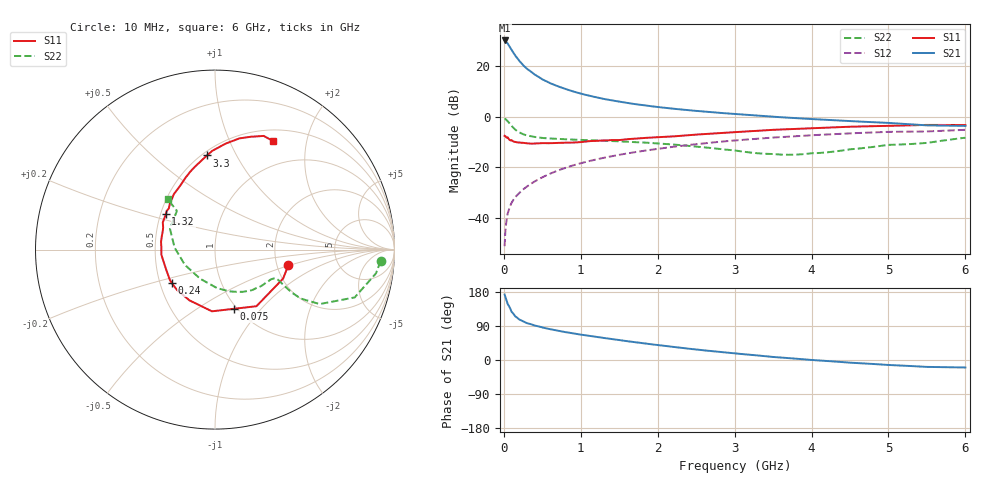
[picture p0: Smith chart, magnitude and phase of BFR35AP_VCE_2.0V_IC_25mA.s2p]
! Infineon Technologies  Discrete & RF Semiconductors
! BFR35AP
! VCE =  2.0 V,  IC =  25 mA
! Common Emitter S-Parameters:  Nov 2015
# GHz  S  MA  R  50
!  f  S11  S21  S12  S22
! GHz  MAG  ANG  MAG  ANG  MAG  ANG  MAG  ANG
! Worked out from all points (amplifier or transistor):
!   210 points, 10 MHz to 6 GHz, reference 50 ohm
!   highest |S21| = 30.3 dB at 10 MHz (marker M1)
!   |S21| within 3 dB of that: start of sweep to 85.05 MHz
!   unconditionally stable (mu >= 1): 242.7 MHz to end of sweep
!   at 185 MHz: K = 0.90, MSG = 26.8 dB, |S12| = -30.8 dB
!   at 1.52 GHz: K = 1.19, MAG = 7.9 dB, |S12| = -15.0 dB
!   at 6 GHz: K = 1.03, MAG = -0.3 dB, |S12| = -5.2 dB
!   S11 on the Smith chart (normalised r, x): 10 MHz: 2.31, -0.49; 75 MHz: 0.97, -0.73; 240 MHz: 0.58, -0.24; 1.32 GHz: 0.53, +0.24; 3.3 GHz: 0.53, +0.77; 6 GHz: 0.64, +1.47
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0.01  0.4178 -12.0  32.7 172.9  0.0027 86.3  0.9251 -4.0
0.02  0.4125 -23.0  32.11 165.8  0.0054 81.0  0.9067 -8.4
0.05  0.3909 -53.8  28.54 148.0  0.012 73.3  0.8226 -18.9
0.075  0.3466 -72.0  24.55 139.2  0.0158 69.0  0.7378 -22.7
0.1  0.3442 -92.8  21.34 127.4  0.0196 66.3  0.6571 -27.5
0.15  0.3167 -116.6  16.24 114.8  0.0256 64.3  0.5512 -29.7
0.2  0.3089 -132.7  12.93 107.0  0.0305 66.0  0.4898 -29.2
0.24  0.305 -142.0  11.02 102.7  0.0348 66.7  0.4574 -28.3
0.3  0.2967 -152.9  8.975 97.3  0.0412 68.7  0.4256 -27.2
0.4  0.2942 -165.7  6.895 91.1  0.0519 69.9  0.3964 -25.8
0.5  0.2999 -174.6  5.53 85.7  0.0628 71.0  0.3795 -25.3
0.6  0.2987 178.4  4.654 81.3  0.074 70.9  0.3702 -25.5
0.7  0.3036 172.0  4.036 77.3  0.0854 70.7  0.3636 -26.3
0.8  0.3055 167.3  3.552 73.6  0.0967 70.1  0.3572 -27.2
1.02  0.3169 155.9  2.828 66.4  0.1218 68.7  0.3468 -30.2
1.32  0.3373 144.4  2.228 57.5  0.1556 65.8  0.3336 -35.5
2.02  0.3942 122.4  1.547 39.1  0.233 57.6  0.2936 -51.7
3.1  0.5044 98.3  1.105 15.6  0.3476 42.8  0.2041 -92.2
3.3  0.5265 94.8  1.05 12.0  0.3666 39.8  0.1885 -104.0
4.1  0.6014 82.8  0.884 -1.2  0.4374 28.5  0.1911 -159.9
5.1  0.6654 71.2  0.739 -14.0  0.5025 13.7  0.2788 150.7
6  0.6857 61.9  0.658 -19.8  0.5505 3.3  0.3842 133.2
